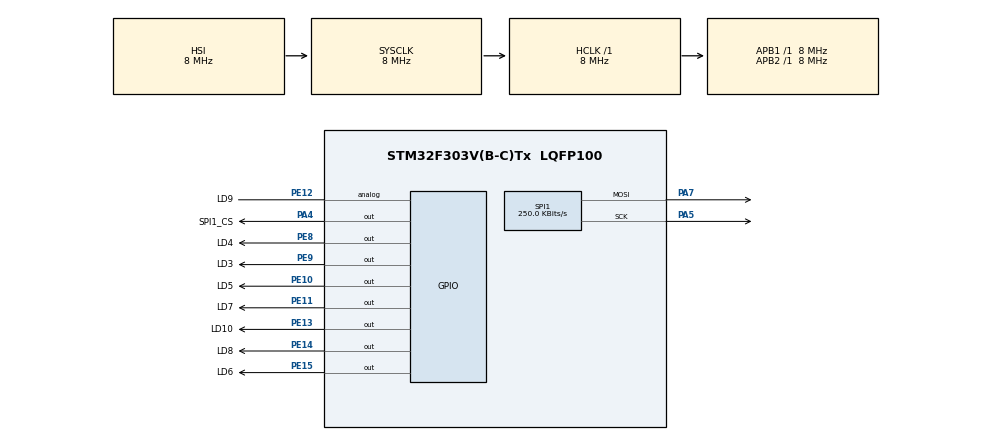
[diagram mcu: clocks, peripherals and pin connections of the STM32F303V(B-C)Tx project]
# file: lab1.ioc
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Mcu.Family=STM32F3
RCC.CortexFreq_Value=8000000
PA7.Mode=TX_Only_Simplex_Unidirect_Master
SPI1.VirtualType=VM_MASTER
PE11.GPIO_Label=LD7
PE14.GPIO_Label=LD8
ProjectManager.StackSize=0x400
PE15.GPIO_Label=LD6
ProjectManager.TargetToolchain=STM32CubeIDE
SPI1.Direction=SPI_DIRECTION_2LINES
PE8.GPIO_Label=LD4
SPI1.CalculateBaudRate=250.0 KBits/s
PE11.Signal=GPIO_Output
RCC.LSE_VALUE=32768
PE9.GPIO_Label=LD3
RCC.AHBFreq_Value=8000000
PA5.Signal=SPI1_SCK
RCC.HSE_VALUE=8000000
board=custom
RCC.APB2Freq_Value=8000000
PE14.Signal=GPIO_Output
PE13.Signal=GPIO_Output
PE15.Signal=GPIO_Output
PE9.Signal=GPIO_Output
PE8.Signal=GPIO_Output
SPI1.Mode=SPI_MODE_MASTER
SPI1.DataSize=SPI_DATASIZE_16BIT
PE10.Signal=GPIO_Output
Mcu.Name=STM32F303V(B-C)Tx
PE12.Signal=GPIO_Analog
PA4.Signal=GPIO_Output
RCC.SYSCLKFreq_VALUE=8000000
Mcu.Package=LQFP100
PE13.GPIO_Label=LD10
PE12.GPIO_Label=LD9
ProjectManager.HeapSize=0x200
RCC.HSI_VALUE=8000000
NVIC.PriorityGroup=NVIC_PRIORITYGROUP_4
RCC.APB1Freq_Value=8000000
PE10.GPIO_Label=LD5
SPI1.BaudRatePrescaler=SPI_BAUDRATEPRESCALER_32
PA4.GPIO_Label=SPI1_CS
PA5.Mode=TX_Only_Simplex_Unidirect_Master
PA7.Signal=SPI1_MOSI

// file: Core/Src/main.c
/* USER CODE BEGIN Header */
/**
  ******************************************************************************
  * @file           : main.c
  * @brief          : Main program body
  ******************************************************************************
  * @attention
  *
  * <h2><center>&copy; Copyright (c) 2021 STMicroelectronics.
  * All rights reserved.</center></h2>
  *
  * This software component is licensed by ST under BSD 3-Clause license,
  * the "License"; You may not use this file except in compliance with the
  * License. You may obtain a copy of the License at:
  *                        opensource.org/licenses/BSD-3-Clause
  *
  ******************************************************************************
  */
/* USER CODE END Header */
#include "main.h"

SPI_HandleTypeDef hspi1;

void SystemClock_Config(void);
static void MX_GPIO_Init(void);
static void MX_SPI1_Init(void);

/* USER CODE BEGIN 0 */
void spi_write(uint16_t x)
{
	HAL_GPIO_WritePin(SPI1_CS_GPIO_Port, SPI1_CS_Pin, 0);
	HAL_SPI_Transmit(&hspi1, &x, 1, 100);
	HAL_GPIO_WritePin(SPI1_CS_GPIO_Port, SPI1_CS_Pin, 1);
	}

void max7219_write(uint8_t addr, uint8_t dt)
{
spi_write(dt | addr<<8);//sterowanie wyswietlaczem
}

void wyswietlanie1(void)
{		//max7219_write(kolumna, ktore ledy ON) 1 jako zapalona
max7219_write(1,0x00);//pierwsza kolumna, 0000 0000  1 oznacza zapalona LED
max7219_write(2,0x7F);//druga kolumna, 0111 1111     0 ozanacza zgaszona LED
max7219_write(3,0x30);//trzecia kolumna, 0011 0000
max7219_write(4,0x08);//czwarta kolumna, 0000 1000
max7219_write(5,0x08);//to samo tylko w odwrotnej kolejnosci
max7219_write(6,0x30);
max7219_write(7,0x7F);
max7219_write(8,0x00);

}
void wyswietlanie2(void)
{
max7219_write(1,0x00);
max7219_write(2,0x3C);
max7219_write(3,0x06);
max7219_write(5,0x18);
max7219_write(6,0x30);
max7219_write(7,0x60);
max7219_write(8,0xC0);
}

void wyswietlanie3(void)
{
max7219_write(1,0x03);
max7219_write(2,0x02);
max7219_write(3,0x42);
max7219_write(4,0x81);
max7219_write(5,0x81);
max7219_write(6,0x42);
max7219_write(7,0x3C);
max7219_write(8,0x00);
}

void wyswietlanie4(void)
{
max7219_write(1,0x0C);
max7219_write(2,0x10);
max7219_write(3,0x20);
max7219_write(4,0x10);
max7219_write(5,0x0C);
max7219_write(6,0x02);
max7219_write(7,0x0C);
max7219_write(8,0x10);
}

void wyswietlanie5(void)
{
max7219_write(1,0x81);
max7219_write(2,0x42);
max7219_write(3,0x48);
max7219_write(4,0x18);
max7219_write(5,0x18);
max7219_write(6,0x48);
max7219_write(7,0x42);
max7219_write(8,0x81);
}
void plywajace_swiatlo(void)
{
	int i=0;
	while (i<2)//powtorzenie 5 razy
	{
		//Działanie: LEDy beda zapalac sie i gasnac co 0,08s po takim mrugnieciu zapali sie
		  	  	  //kolejna LED, ktora zgasnie po 0,08s
		  	  	  //Kolejnosc LEDow zostala dobrana z pomoca schematu w skrypcie do laboratorium
	HAL_GPIO_TogglePin(LD7_GPIO_Port, LD7_Pin);
	HAL_Delay(80);
	HAL_GPIO_TogglePin(LD7_GPIO_Port, LD7_Pin);
	HAL_GPIO_TogglePin(LD9_GPIO_Port, LD9_Pin);
	HAL_Delay(80);
	HAL_GPIO_TogglePin(LD9_GPIO_Port, LD9_Pin);
	HAL_GPIO_TogglePin(LD10_GPIO_Port, LD10_Pin);
	HAL_Delay(80);
	HAL_GPIO_TogglePin(LD10_GPIO_Port, LD10_Pin);
	HAL_GPIO_TogglePin(LD8_GPIO_Port, LD8_Pin);
	HAL_Delay(80);
	HAL_GPIO_TogglePin(LD8_GPIO_Port, LD8_Pin);
	HAL_GPIO_TogglePin(LD6_GPIO_Port, LD6_Pin);
	HAL_Delay(80);
	HAL_GPIO_TogglePin(LD6_GPIO_Port, LD6_Pin);
	HAL_GPIO_TogglePin(LD4_GPIO_Port, LD4_Pin);
	HAL_Delay(80);
	HAL_GPIO_TogglePin(LD4_GPIO_Port, LD4_Pin);
	HAL_GPIO_TogglePin(LD3_GPIO_Port, LD3_Pin);
	HAL_Delay(80);
	HAL_GPIO_TogglePin(LD3_GPIO_Port, LD3_Pin);
	HAL_GPIO_TogglePin(LD5_GPIO_Port, LD5_Pin);
	HAL_Delay(80);
	HAL_GPIO_TogglePin(LD5_GPIO_Port, LD5_Pin);
	i++;
	}
	i=0;
}
void max7219_init(void)
  {
  spi_write(0xB07);//proces inicjalizacji wyswietlacza
  spi_write(0x900);//-||-
  spi_write(0xC01);//-||-
  spi_write(0xF00);//-||-
  spi_write(0xA01);//-||-
  wyswietlanie1();//pierwsza klatka
  HAL_Delay(250);
  plywajace_swiatlo();//animacja swiatla pomiedzy klatkami
  HAL_Delay(200);
  wyswietlanie2();//druga klatka
  HAL_Delay(200);
  plywajace_swiatlo();//animacja swiatla pomiedzy klatkami
  HAL_Delay(200);
  wyswietlanie3();//druga klatka
  HAL_Delay(200);
  plywajace_swiatlo();//animacja swiatla pomiedzy klatkami
  HAL_Delay(100);
  wyswietlanie4();//druga klatka
  HAL_Delay(200);
  plywajace_swiatlo();//animacja swiatla pomiedzy klatkami
  HAL_Delay(100);
  wyswietlanie5();//druga klatka
  HAL_Delay(100);
  }
/* USER CODE END 0 */

int main(void)
{

  /* MCU Configuration--------------------------------------------------------*/

  /* Reset of all peripherals, Initializes the Flash interface and the Systick. */
  HAL_Init();

  /* Configure the system clock */
  SystemClock_Config();

  /* Initialize all configured peripherals */
  MX_GPIO_Init();
  MX_SPI1_Init();

  /* Infinite loop */
  /* USER CODE BEGIN WHILE */
  max7219_init();//wywolanie funkcji (inicjalizacja i wyswietlanie)
  while (1)
  {
    /* USER CODE END WHILE */

  }
}

void SystemClock_Config(void)
{
  RCC_OscInitTypeDef RCC_OscInitStruct = {0};
  RCC_ClkInitTypeDef RCC_ClkInitStruct = {0};

  /** Initializes the RCC Oscillators according to the specified parameters
  * in the RCC_OscInitTypeDef structure.
  */
  RCC_OscInitStruct.OscillatorType = RCC_OSCILLATORTYPE_HSI;
  RCC_OscInitStruct.HSIState = RCC_HSI_ON;
  RCC_OscInitStruct.HSICalibrationValue = RCC_HSICALIBRATION_DEFAULT;
  RCC_OscInitStruct.PLL.PLLState = RCC_PLL_NONE;
  if (HAL_RCC_OscConfig(&RCC_OscInitStruct) != HAL_OK)
  {
    Error_Handler();
  }
  /** Initializes the CPU, AHB and APB buses clocks
  */
  RCC_ClkInitStruct.ClockType = RCC_CLOCKTYPE_HCLK|RCC_CLOCKTYPE_SYSCLK
                              |RCC_CLOCKTYPE_PCLK1|RCC_CLOCKTYPE_PCLK2;
  RCC_ClkInitStruct.SYSCLKSource = RCC_SYSCLKSOURCE_HSI;
  RCC_ClkInitStruct.AHBCLKDivider = RCC_SYSCLK_DIV1;
  RCC_ClkInitStruct.APB1CLKDivider = RCC_HCLK_DIV1;
  RCC_ClkInitStruct.APB2CLKDivider = RCC_HCLK_DIV1;

  if (HAL_RCC_ClockConfig(&RCC_ClkInitStruct, FLASH_LATENCY_0) != HAL_OK)
  {
    Error_Handler();
  }
}

static void MX_SPI1_Init(void)
{

  /* SPI1 parameter configuration*/
  hspi1.Instance = SPI1;
  hspi1.Init.Mode = SPI_MODE_MASTER;
  hspi1.Init.Direction = SPI_DIRECTION_2LINES;
  hspi1.Init.DataSize = SPI_DATASIZE_16BIT;
  hspi1.Init.CLKPolarity = SPI_POLARITY_LOW;
  hspi1.Init.CLKPhase = SPI_PHASE_1EDGE;
  hspi1.Init.NSS = SPI_NSS_SOFT;
  hspi1.Init.BaudRatePrescaler = SPI_BAUDRATEPRESCALER_32;
  hspi1.Init.FirstBit = SPI_FIRSTBIT_MSB;
  hspi1.Init.TIMode = SPI_TIMODE_DISABLE;
  hspi1.Init.CRCCalculation = SPI_CRCCALCULATION_DISABLE;
  hspi1.Init.CRCPolynomial = 7;
  hspi1.Init.CRCLength = SPI_CRC_LENGTH_DATASIZE;
  hspi1.Init.NSSPMode = SPI_NSS_PULSE_ENABLE;
  if (HAL_SPI_Init(&hspi1) != HAL_OK)
  {
    Error_Handler();
  }

}

static void MX_GPIO_Init(void)
{
  GPIO_InitTypeDef GPIO_InitStruct = {0};

  /* GPIO Ports Clock Enable */
  __HAL_RCC_GPIOA_CLK_ENABLE();
  __HAL_RCC_GPIOE_CLK_ENABLE();

  /*Configure GPIO pin Output Level */
  HAL_GPIO_WritePin(SPI1_CS_GPIO_Port, SPI1_CS_Pin, GPIO_PIN_RESET);

  /*Configure GPIO pin Output Level */
  HAL_GPIO_WritePin(GPIOE, LD4_Pin|LD3_Pin|LD5_Pin|LD7_Pin
                          |LD10_Pin|LD8_Pin|LD6_Pin, GPIO_PIN_RESET);

  /*Configure GPIO pin : SPI1_CS_Pin */
  GPIO_InitStruct.Pin = SPI1_CS_Pin;
  GPIO_InitStruct.Mode = GPIO_MODE_OUTPUT_PP;
  GPIO_InitStruct.Pull = GPIO_NOPULL;
  GPIO_InitStruct.Speed = GPIO_SPEED_FREQ_LOW;
  HAL_GPIO_Init(SPI1_CS_GPIO_Port, &GPIO_InitStruct);

  /*Configure GPIO pins : LD4_Pin LD3_Pin LD5_Pin LD7_Pin
                           LD10_Pin LD8_Pin LD6_Pin */
  GPIO_InitStruct.Pin = LD4_Pin|LD3_Pin|LD5_Pin|LD7_Pin
                          |LD10_Pin|LD8_Pin|LD6_Pin;
  GPIO_InitStruct.Mode = GPIO_MODE_OUTPUT_PP;
  GPIO_InitStruct.Pull = GPIO_NOPULL;
  GPIO_InitStruct.Speed = GPIO_SPEED_FREQ_LOW;
  HAL_GPIO_Init(GPIOE, &GPIO_InitStruct);

  /*Configure GPIO pin : LD9_Pin */
  GPIO_InitStruct.Pin = LD9_Pin;
  GPIO_InitStruct.Mode = GPIO_MODE_ANALOG;
  GPIO_InitStruct.Pull = GPIO_NOPULL;
  HAL_GPIO_Init(LD9_GPIO_Port, &GPIO_InitStruct);

}

void Error_Handler(void)
{
  __disable_irq();
  while (1)
  {
  }
}

/************************ (C) COPYRIGHT STMicroelectronics *****END OF FILE****/
